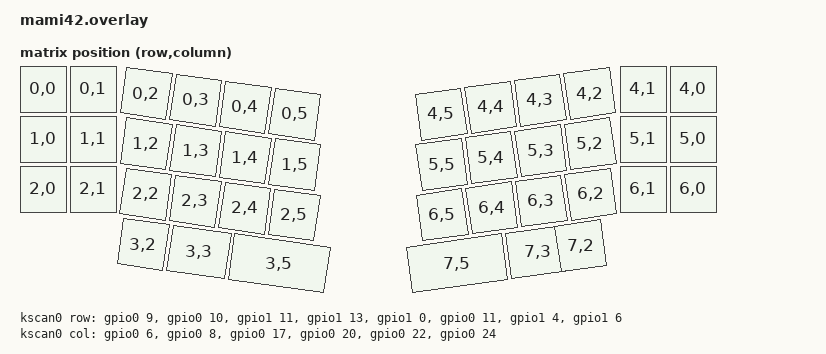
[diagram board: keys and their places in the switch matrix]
/*
 * mami42 - 42キー Alice風一体型キーボード (nice!nano v2 / nRF52840)
 * ピンアサインは doc/pin-assignment-final.md を参照
 * row/col と物理キー座標のマッピングは doc/matrix-mapping.md と kle/layout.json を参照
 */

#include <dt-bindings/zmk/matrix_transform.h>
#include <physical_layouts.dtsi>

/ {
    chosen {
        zmk,kscan = &kscan0;
        zmk,physical-layout = &default_layout;
    };

    kscan0: kscan {
        compatible = "zmk,kscan-gpio-matrix";
        label = "KSCAN";
        diode-direction = "col2row";

        row-gpios
            = <&gpio0 9  (GPIO_ACTIVE_HIGH | GPIO_PULL_DOWN)>   // P0.09 - row0 (左側)
            , <&gpio0 10 (GPIO_ACTIVE_HIGH | GPIO_PULL_DOWN)>   // P0.10 - row1 (左側)
            , <&gpio1 11 (GPIO_ACTIVE_HIGH | GPIO_PULL_DOWN)>   // P1.11 - row2 (左側)
            , <&gpio1 13 (GPIO_ACTIVE_HIGH | GPIO_PULL_DOWN)>   // P1.13 - row3 (左側・親指)
            , <&gpio1 0  (GPIO_ACTIVE_HIGH | GPIO_PULL_DOWN)>   // P1.00 - row4 (右側)
            , <&gpio0 11 (GPIO_ACTIVE_HIGH | GPIO_PULL_DOWN)>   // P0.11 - row5 (右側)
            , <&gpio1 4  (GPIO_ACTIVE_HIGH | GPIO_PULL_DOWN)>   // P1.04 - row6 (右側)
            , <&gpio1 6  (GPIO_ACTIVE_HIGH | GPIO_PULL_DOWN)>   // P1.06 - row7 (右側・親指)
            ;

        col-gpios
            = <&gpio0 6  GPIO_ACTIVE_HIGH>   // P0.06 - col0
            , <&gpio0 8  GPIO_ACTIVE_HIGH>   // P0.08 - col1
            , <&gpio0 17 GPIO_ACTIVE_HIGH>   // P0.17 - col2
            , <&gpio0 20 GPIO_ACTIVE_HIGH>   // P0.20 - col3
            , <&gpio0 22 GPIO_ACTIVE_HIGH>   // P0.22 - col4
            , <&gpio0 24 GPIO_ACTIVE_HIGH>   // P0.24 - col5
            ;
    };

    default_transform: keymap_transform_0 {
        compatible = "zmk,matrix-transform";
        columns = <6>;
        rows = <8>;
        map =
            <
        RC(0,0)  /* SW1 */
        RC(1,0)  /* SW2 */
        RC(2,0)  /* SW3 */
        RC(0,1)  /* SW4 */
        RC(1,1)  /* SW5 */
        RC(2,1)  /* SW6 */
        RC(0,2)  /* SW7 */
        RC(1,2)  /* SW8 */
        RC(2,2)  /* SW9 */
        RC(3,2)  /* SW10 */
        RC(0,3)  /* SW11 */
        RC(1,3)  /* SW12 */
        RC(2,3)  /* SW13 */
        RC(3,3)  /* SW14 */
        RC(0,4)  /* SW15 */
        RC(1,4)  /* SW16 */
        RC(2,4)  /* SW17 */
        RC(0,5)  /* SW18 */
        RC(1,5)  /* SW19 */
        RC(2,5)  /* SW20 */
        RC(3,5)  /* SW21 */
        RC(4,5)  /* SW22 */
        RC(5,5)  /* SW23 */
        RC(6,5)  /* SW24 */
        RC(7,5)  /* SW25 */
        RC(4,4)  /* SW26 */
        RC(5,4)  /* SW27 */
        RC(6,4)  /* SW28 */
        RC(4,3)  /* SW29 */
        RC(5,3)  /* SW30 */
        RC(6,3)  /* SW31 */
        RC(7,3)  /* SW32 */
        RC(4,2)  /* SW33 */
        RC(5,2)  /* SW34 */
        RC(6,2)  /* SW35 */
        RC(7,2)  /* SW36 */
        RC(4,1)  /* SW37 */
        RC(5,1)  /* SW38 */
        RC(6,1)  /* SW39 */
        RC(4,0)  /* SW40 */
        RC(5,0)  /* SW41 */
        RC(6,0)  /* SW42 */
            >;
    };

    default_layout: default_layout {
        compatible = "zmk,physical-layout";
        display-name = "mami42";
        transform = <&default_transform>;
        kscan = <&kscan0>;

        keys  //                    w    h     x     y   rot    rx    ry
            =
        <&key_physical_attrs  100  100     0   100     0     0     0>  /* SW1 */
        <&key_physical_attrs  100  100     0   200     0     0     0>  /* SW2 */
        <&key_physical_attrs  100  100     0   300     0     0     0>  /* SW3 */
        <&key_physical_attrs  100  100   100   100     0     0     0>  /* SW4 */
        <&key_physical_attrs  100  100   100   200     0     0     0>  /* SW5 */
        <&key_physical_attrs  100  100   100   300     0     0     0>  /* SW6 */
        <&key_physical_attrs  100  100   214   100   800   200   100>  /* SW7 */
        <&key_physical_attrs  100  100   228   200   800   200   100>  /* SW8 */
        <&key_physical_attrs  100  100   241   300   800   200   100>  /* SW9 */
        <&key_physical_attrs  100  100   250   400   800   200   100>  /* SW10 */
        <&key_physical_attrs  100  100   314   100   800   200   100>  /* SW11 */
        <&key_physical_attrs  100  100   328   200   800   200   100>  /* SW12 */
        <&key_physical_attrs  100  100   341   300   800   200   100>  /* SW13 */
        <&key_physical_attrs  125  100   350   400   800   200   100>  /* SW14 */
        <&key_physical_attrs  100  100   414   100   800   200   100>  /* SW15 */
        <&key_physical_attrs  100  100   428   200   800   200   100>  /* SW16 */
        <&key_physical_attrs  100  100   441   300   800   200   100>  /* SW17 */
        <&key_physical_attrs  100  100   514   100   800   200   100>  /* SW18 */
        <&key_physical_attrs  100  100   528   200   800   200   100>  /* SW19 */
        <&key_physical_attrs  100  100   541   300   800   200   100>  /* SW20 */
        <&key_physical_attrs  200  100   475   400   800   200   100>  /* SW21 */
        <&key_physical_attrs  100  100   786   100  -800  1200   100>  /* SW22 */
        <&key_physical_attrs  100  100   773   200  -800  1200   100>  /* SW23 */
        <&key_physical_attrs  100  100   760   300  -800  1200   100>  /* SW24 */
        <&key_physical_attrs  200  100   726   400  -800  1200   100>  /* SW25 */
        <&key_physical_attrs  100  100   886   100  -800  1200   100>  /* SW26 */
        <&key_physical_attrs  100  100   873   200  -800  1200   100>  /* SW27 */
        <&key_physical_attrs  100  100   860   300  -800  1200   100>  /* SW28 */
        <&key_physical_attrs  100  100   986   100  -800  1200   100>  /* SW29 */
        <&key_physical_attrs  100  100   973   200  -800  1200   100>  /* SW30 */
        <&key_physical_attrs  100  100   960   300  -800  1200   100>  /* SW31 */
        <&key_physical_attrs  125  100   926   400  -800  1200   100>  /* SW32 */
        <&key_physical_attrs  100  100  1086   100  -800  1200   100>  /* SW33 */
        <&key_physical_attrs  100  100  1073   200  -800  1200   100>  /* SW34 */
        <&key_physical_attrs  100  100  1060   300  -800  1200   100>  /* SW35 */
        <&key_physical_attrs  100  100  1026   400  -800  1200   100>  /* SW36 */
        <&key_physical_attrs  100  100  1200   100     0     0     0>  /* SW37 */
        <&key_physical_attrs  100  100  1200   200     0     0     0>  /* SW38 */
        <&key_physical_attrs  100  100  1200   300     0     0     0>  /* SW39 */
        <&key_physical_attrs  100  100  1300   100     0     0     0>  /* SW40 */
        <&key_physical_attrs  100  100  1300   200     0     0     0>  /* SW41 */
        <&key_physical_attrs  100  100  1300   300     0     0     0>  /* SW42 */
            ;
    };
};
